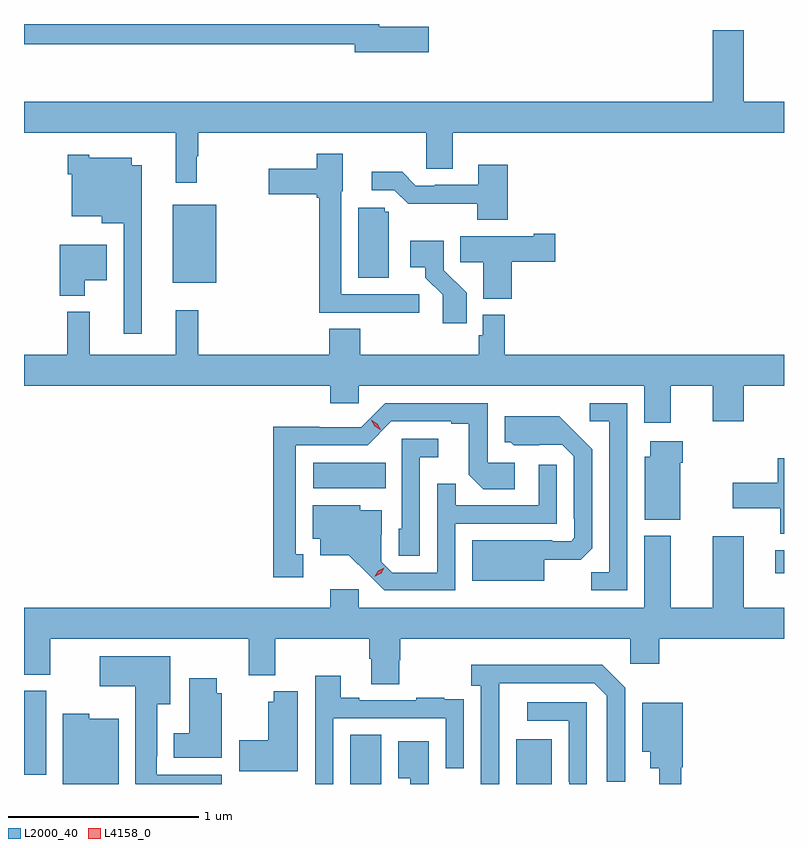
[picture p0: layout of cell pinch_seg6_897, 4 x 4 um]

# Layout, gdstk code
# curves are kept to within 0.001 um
import gdstk
lib = gdstk.Library(unit=1e-6, precision=1e-09)
def R(c, l, rs):  # rectangles x0, y0, x1, y1
    for r in rs: c.add(gdstk.rectangle(r[:2], r[2:], *l))
def P(c, l, *ps):  # polygons
    for p in ps: c.add(gdstk.Polygon(p, *l))
L2000_40 = (2000, 40)
L4158_0 = (4158, 0)

pinch_seg6_897 = lib.new_cell('pinch_seg6_897')
R(pinch_seg6_897, L2000_40, [(354.908,931.92,355.072,932.18), (355.781,931.92,355.969,932.155), (353.191,931.968,353.308,932.41), (357.144,933.029,357.191,933.151), (354.714,933.476,355.094,933.61), (353.975,934.559,354.202,934.969)])
P(pinch_seg6_897, L2000_40, [(355.321,935.906),(355.06,935.906),(355.06,935.92),(353.191,935.92),(353.191,935.814),(354.932,935.814),(354.932,935.771),(355.321,935.771)],
  [(354.1,935.225),(354.107,935.225),(354.107,935.348),(355.308,935.348),(355.308,935.158),(355.447,935.158),(355.447,935.348),(357.191,935.348),(357.191,935.512),(356.98,935.512),(356.98,935.887),(356.816,935.887),(356.816,935.512),(353.191,935.512),(353.191,935.348),(353.989,935.348),(353.989,935.085),(354.1,935.085)],
  [(355.27,934.497),(354.861,934.497),(354.861,935.04),(354.868,935.04),(354.868,935.236),(354.732,935.236),(354.732,935.158),(354.48,935.158),(354.48,935.024),(354.732,935.024),(354.732,935.006),(354.745,935.006),(354.745,934.401),(355.045,934.401),(355.045,934.399),(355.27,934.399)],
  [(353.812,935.176),(353.758,935.176),(353.758,935.215),(353.535,935.215),(353.535,935.233),(353.42,935.233),(353.42,935.129),(353.441,935.129),(353.441,934.907),(353.6,934.907),(353.6,934.871),(353.715,934.871),(353.715,934.29),(353.812,934.29)],
  [(355.736,935.179),(355.583,935.179),(355.583,935.073),(355.354,935.073),(355.354,935.07),(355.254,935.07),(355.181,935.143),(355.02,935.143),(355.02,935.046),(355.14,935.046),(355.213,934.973),(355.576,934.974),(355.576,934.889),(355.736,934.889)],
  [(355.111,934.932),(355.089,934.932),(355.089,934.953),(354.95,934.953),(354.95,934.584),(355.111,934.584)],
  [(355.757,934.67),(355.987,934.67),(355.987,934.817),(355.874,934.817),(355.874,934.804),(355.486,934.804),(355.486,934.666),(355.607,934.666),(355.607,934.475),(355.757,934.475)],
  [(355.52,934.506),(355.401,934.625),(355.401,934.78),(355.224,934.78),(355.224,934.64),(355.304,934.64),(355.304,934.585),(355.395,934.495),(355.395,934.344),(355.52,934.344)],
  [(353.512,934.571),(353.626,934.571),(353.626,934.759),(353.378,934.759),(353.378,934.49),(353.512,934.49)],
  [(356.596,934.016),(356.816,934.016),(356.816,933.828),(356.98,933.828),(356.98,934.016),(357.191,934.016),(357.191,934.18),(355.721,934.18),(355.721,934.39),(355.605,934.39),(355.605,934.281),(355.585,934.281),(355.585,934.18),(354.962,934.18),(354.962,934.316),(354.797,934.316),(354.797,934.18),(354.107,934.18),(354.107,934.414),(353.99,934.414),(353.99,934.18),(353.537,934.18),(353.537,934.405),(353.419,934.405),(353.419,934.18),(353.191,934.18),(353.191,934.016),(354.803,934.016),(354.803,933.923),(354.954,933.923),(354.954,934.016),(356.456,934.016),(356.456,933.822),(356.596,933.822)],
  [(354.661,933.129),(354.622,933.129),(354.622,933.702),(354.999,933.702),(355.125,933.828),(355.439,933.828),(355.439,933.816),(355.533,933.816),(355.533,933.548),(355.609,933.472),(355.774,933.472),(355.774,933.612),(355.632,933.612),(355.632,933.924),(355.092,933.924),(354.966,933.798),(354.744,933.798),(354.744,933.8),(354.504,933.8),(354.504,933.009),(354.661,933.009)],
  [(356.367,933.924),(356.169,933.924),(356.169,933.828),(356.271,933.828),(356.271,933.035),(356.176,933.035),(356.176,932.94),(356.367,932.94)],
  [(355.93,933.101),(356.122,933.101),(356.181,933.16),(356.181,933.682),(356.009,933.856),(355.721,933.856),(355.721,933.72),(355.752,933.72),(355.768,933.704),(356.025,933.705),(356.085,933.645),(356.085,933.316),(356.088,933.316),(356.088,933.216),(356.07,933.198),(355.97,933.198),(355.97,933.202),(355.55,933.202),(355.55,932.99),(355.93,932.99)],
  [(355.275,933.641),(355.372,933.641),(355.372,933.738),(355.179,933.738),(355.179,933.264),(355.164,933.264),(355.164,933.121),(355.275,933.121)],
  [(356.644,933.611),(356.657,933.611),(356.657,933.724),(356.486,933.724),(356.486,933.642),(356.459,933.642),(356.459,933.311),(356.644,933.311)],
  [(357.191,933.634),(357.158,933.634),(357.158,933.506),(356.922,933.506),(356.922,933.371),(357.17,933.371),(357.17,933.236),(357.191,933.236)],
  [(355.461,933.291),(355.995,933.291),(355.995,933.601),(355.899,933.601),(355.899,933.387),(355.463,933.387),(355.463,933.5),(355.365,933.5),(355.365,933.033),(355.128,933.033),(355.071,933.09),(355.071,933.232),(355.075,933.232),(355.075,933.361),(354.96,933.361),(354.96,933.388),(354.71,933.388),(354.71,933.212),(354.749,933.212),(354.749,933.125),(354.901,933.125),(355.088,932.94),(355.461,932.94)],
  [(353.191,932.495),(353.329,932.495),(353.329,932.684),(354.374,932.684),(354.374,932.492),(354.514,932.492),(354.514,932.684),(355.007,932.684),(355.007,932.578),(355.019,932.578),(355.019,932.446),(355.167,932.446),(355.167,932.571),(355.172,932.571),(355.172,932.684),(356.382,932.684),(356.382,932.553),(356.534,932.553),(356.534,932.684),(357.191,932.684),(357.191,932.848),(356.98,932.848),(356.98,933.223),(356.816,933.223),(356.816,932.848),(356.596,932.848),(356.596,933.226),(356.456,933.226),(356.456,932.848),(354.954,932.848),(354.954,932.944),(354.803,932.944),(354.803,932.848),(353.191,932.848)],
  [(354.233,931.968),(353.889,931.968),(353.889,932.065),(353.893,932.065),(353.893,932.339),(353.962,932.339),(353.962,932.593),(353.589,932.593),(353.589,932.435),(353.777,932.435),(353.778,931.92),(354.233,931.92)],
  [(355.692,932.251),(355.693,932.451),(356.193,932.451),(356.259,932.385),(356.259,931.932),(356.355,931.932),(356.355,932.427),(356.234,932.548),(355.545,932.548),(355.545,932.438),(355.596,932.438),(355.596,931.92),(355.692,931.92)],
  [(354.819,932.265),(355.41,932.265),(355.41,932.004),(355.506,932.004),(355.506,932.258),(355.505,932.258),(355.505,932.367),(355.403,932.367),(355.403,932.374),(355.255,932.374),(355.255,932.361),(354.955,932.361),(354.955,932.374),(354.859,932.374),(354.859,932.491),(354.723,932.491),(354.723,931.92),(354.819,931.92)],
  [(354.232,932.397),(354.205,932.397),(354.205,932.476),(354.062,932.476),(354.062,932.188),(353.978,932.188),(353.978,932.057),(354.232,932.057)],
  [(354.631,932.407),(354.506,932.407),(354.506,932.353),(354.476,932.353),(354.476,932.151),(354.324,932.151),(354.324,931.988),(354.631,931.988)],
  [(356.154,932.349),(355.839,932.349),(355.839,932.253),(356.058,932.253),(356.058,931.933),(356.061,931.933),(356.061,931.92),(356.154,931.92)],
  [(356.651,932.007),(356.657,932.007),(356.657,932.347),(356.444,932.347),(356.444,932.09),(356.486,932.09),(356.486,932.003),(356.534,932.003),(356.534,931.92),(356.651,931.92)],
  [(353.689,932.263),(353.535,932.263),(353.535,932.29),(353.396,932.29),(353.396,931.92),(353.689,931.92)],
  [(355.321,932.146),(355.16,932.146),(355.16,931.949),(355.223,931.949),(355.223,931.92),(355.321,931.92)])
P(pinch_seg6_897, L4158_0, [(355.038,933.013),(355.038,933.013),(355.056,933.043),(355.087,933.057),(355.088,933.057),(355.088,933.057),(355.07,933.028),(355.039,933.013)],
  [(355.067,933.784),(355.036,933.803),(355.018,933.835),(355.018,933.836),(355.018,933.836),(355.05,933.817),(355.068,933.784),(355.068,933.784)])

lib.write_gds('pinch_seg6_897.gds')
